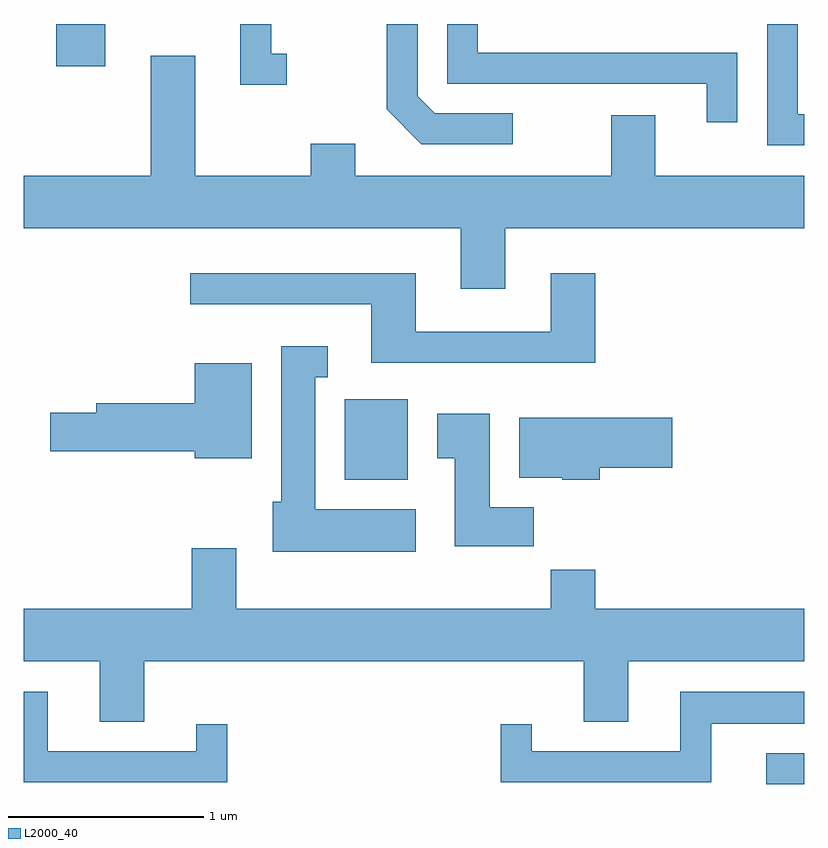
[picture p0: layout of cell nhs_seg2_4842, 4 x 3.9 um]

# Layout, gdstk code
import gdstk
lib = gdstk.Library(unit=1e-6, precision=1e-09)
def R(c, l, rs):  # rectangles x0, y0, x1, y1
    for r in rs: c.add(gdstk.rectangle(r[:2], r[2:], *l))
def P(c, l, *ps):  # polygons
    for p in ps: c.add(gdstk.Polygon(p, *l))
L2000_40 = (2000, 40)

nhs_seg2_4842 = lib.new_cell('nhs_seg2_4842')
R(nhs_seg2_4842, L2000_40, [(331.418,1049.906,331.611,1050.064), (329.256,1051.466,329.579,1051.879), (327.776,1053.586,328.029,1053.802)])
P(nhs_seg2_4842, L2000_40, [(331.269,1053.654),(329.939,1053.654),(329.939,1053.802),(329.781,1053.802),(329.781,1053.496),(331.111,1053.496),(331.111,1053.298),(331.269,1053.298)],
  [(331.611,1053.339),(331.579,1053.339),(331.579,1053.802),(331.421,1053.802),(331.421,1053.181),(331.611,1053.181)],
  [(328.958,1053.649),(328.879,1053.649),(328.879,1053.802),(328.721,1053.802),(328.721,1053.491),(328.958,1053.491)],
  [(330.118,1053.344),(329.717,1053.344),(329.629,1053.432),(329.629,1053.802),(329.471,1053.802),(329.471,1053.364),(329.649,1053.186),(330.118,1053.186)],
  [(330.079,1052.756),(331.611,1052.756),(331.611,1053.024),(330.849,1053.024),(330.849,1053.334),(330.621,1053.334),(330.621,1053.024),(329.309,1053.024),(329.309,1053.189),(329.081,1053.189),(329.081,1053.024),(328.489,1053.024),(328.489,1053.639),(328.261,1053.639),(328.261,1053.024),(327.611,1053.024),(327.611,1052.756),(329.851,1052.756),(329.851,1052.446),(330.079,1052.446)],
  [(330.539,1052.524),(330.311,1052.524),(330.311,1052.224),(329.619,1052.224),(329.619,1052.524),(328.463,1052.524),(328.463,1052.366),(329.391,1052.366),(329.391,1052.066),(330.539,1052.066)],
  [(329.619,1051.314),(329.104,1051.314),(329.104,1051.991),(329.168,1051.991),(329.168,1052.149),(328.931,1052.149),(328.931,1051.354),(328.886,1051.354),(328.886,1051.096),(329.619,1051.096)],
  [(328.779,1052.064),(328.486,1052.064),(328.486,1051.859),(327.981,1051.859),(327.981,1051.809),(327.746,1051.809),(327.746,1051.611),(328.486,1051.611),(328.486,1051.576),(328.779,1051.576)],
  [(330.224,1051.324),(329.999,1051.324),(329.999,1051.804),(329.731,1051.804),(329.731,1051.576),(329.821,1051.576),(329.821,1051.126),(330.224,1051.126)],
  [(330.564,1051.526),(330.934,1051.526),(330.934,1051.784),(330.151,1051.784),(330.151,1051.476),(330.37,1051.476),(330.37,1051.466),(330.564,1051.466)],
  [(328.229,1050.536),(330.481,1050.536),(330.481,1050.226),(330.709,1050.226),(330.709,1050.536),(331.611,1050.536),(331.611,1050.804),(330.539,1050.804),(330.539,1051.004),(330.311,1051.004),(330.311,1050.804),(328.699,1050.804),(328.699,1051.114),(328.471,1051.114),(328.471,1050.804),(327.611,1050.804),(327.611,1050.536),(328.001,1050.536),(328.001,1050.226),(328.229,1050.226)],
  [(328.654,1050.213),(328.496,1050.213),(328.496,1050.074),(327.734,1050.074),(327.734,1050.379),(327.611,1050.379),(327.611,1049.916),(328.654,1049.916)],
  [(331.134,1050.216),(331.611,1050.216),(331.611,1050.379),(330.976,1050.379),(330.976,1050.074),(330.214,1050.074),(330.214,1050.213),(330.056,1050.213),(330.056,1049.916),(331.134,1049.916)])

lib.write_gds('nhs_seg2_4842.gds')
